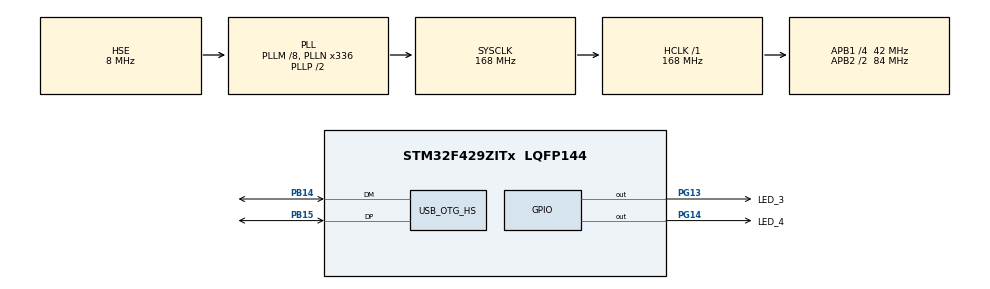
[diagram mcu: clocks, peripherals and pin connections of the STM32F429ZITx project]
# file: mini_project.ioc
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FREERTOS.Tasks01=ReadAndProcess,24,256,ReadAndProcess_Handle,Default,NULL,Dynamic,NULL,NULL;Output,24,128,Output_handle,Default,NULL,Dynamic,NULL,NULL;ZPID,24,256,ZPID_handle,Default,NULL,Dynamic,NULL,NULL;XPID,24,256,XPID_handle,Default,NULL,Dynamic,NULL,NULL
Mcu.Family=STM32F4
Mcu.Name=STM32F429ZITx
Mcu.Package=LQFP144
NVIC.OTG_HS_IRQn=true\:5\:0\:false\:false\:true\:true\:true\:true\:true
NVIC.PriorityGroup=NVIC_PRIORITYGROUP_4
NVIC.TIM6_DAC_IRQn=true\:15\:0\:false\:false\:true\:false\:false\:true\:true
NVIC.TimeBase=TIM6_DAC_IRQn
NVIC.TimeBaseIP=TIM6
PA13.Mode=Serial_Wire
PA13.Signal=SYS_JTMS-SWDIO
PA14.Mode=Serial_Wire
PA14.Signal=SYS_JTCK-SWCLK
PB14.Mode=Device_Only_FS
PB14.Signal=USB_OTG_HS_DM
PB15.Mode=Device_Only_FS
PB15.Signal=USB_OTG_HS_DP
PG13.GPIO_Label=LED_3
PG13.Signal=GPIO_Output
PG14.GPIO_Label=LED_4
PG14.Signal=GPIO_Output
PH0/OSC_IN.Mode=HSE-External-Oscillator
PH0/OSC_IN.Signal=RCC_OSC_IN
PH1/OSC_OUT.Mode=HSE-External-Oscillator
PH1/OSC_OUT.Signal=RCC_OSC_OUT
ProjectManager.HeapSize=0x2000
ProjectManager.StackSize=0x400
ProjectManager.TargetToolchain=STM32CubeIDE
RCC.48MHZClocksFreq_Value=48000000
RCC.AHBFreq_Value=168000000
RCC.APB1CLKDivider=RCC_HCLK_DIV4
RCC.APB1Freq_Value=42000000
RCC.APB1TimFreq_Value=84000000
RCC.APB2CLKDivider=RCC_HCLK_DIV2
RCC.APB2Freq_Value=84000000
RCC.APB2TimFreq_Value=168000000
RCC.CortexFreq_Value=168000000
RCC.HCLKFreq_Value=168000000
RCC.HSE_VALUE=8000000
RCC.HSI_VALUE=16000000
RCC.LSE_VALUE=32768
RCC.PLLM=8
RCC.PLLN=336
RCC.PLLQ=7
RCC.SYSCLKFreq_VALUE=168000000
RCC.SYSCLKSource=RCC_SYSCLKSOURCE_PLLCLK
RCC.VCOOutputFreq_Value=336000000
USB_DEVICE.CLASS_NAME_HS=CDC
USB_DEVICE.VirtualMode-CDC_HS=Cdc
USB_DEVICE.VirtualModeHS=Cdc_HS
USB_OTG_HS.VirtualMode-Device_Only_FS=Device_Only_FS
VP_FREERTOS_VS_CMSIS_V2.Mode=CMSIS_V2
VP_SYS_VS_tim6.Mode=TIM6
VP_USB_DEVICE_VS_USB_DEVICE_CDC_HS.Mode=CDC_HS
board=custom

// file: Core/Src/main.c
/* USER CODE BEGIN Header */
/**
  ******************************************************************************
  * @file           : main.c
  * @brief          : Main program body
  ******************************************************************************
  * @attention
  *
  * Copyright (c) 2024 STMicroelectronics.
  * All rights reserved.
  *
  * This software is licensed under terms that can be found in the LICENSE file
  * in the root directory of this software component.
  * If no LICENSE file comes with this software, it is provided AS-IS.
  *
  ******************************************************************************
  */
/* USER CODE END Header */
#include "main.h"
#include "cmsis_os.h"
#include "usb_device.h"

/* USER CODE BEGIN Includes */
#include "usbd_cdc_if.h"
#include "stm32f429i_discovery_lcd.h"
#include "stm32f429i_discovery_gyroscope.h"
/* USER CODE END Includes */

/* Definitions for ReadAndProcess */
osThreadId_t ReadAndProcessHandle;
const osThreadAttr_t ReadAndProcess_attributes = {
  .name = "ReadAndProcess",
  .stack_size = 256 * 4,
  .priority = (osPriority_t) osPriorityNormal,
};
/* Definitions for Output */
osThreadId_t OutputHandle;
const osThreadAttr_t Output_attributes = {
  .name = "Output",
  .stack_size = 128 * 4,
  .priority = (osPriority_t) osPriorityNormal2,
};
/* Definitions for ZPID */
osThreadId_t ZPIDHandle;
const osThreadAttr_t ZPID_attributes = {
  .name = "ZPID",
  .stack_size = 256 * 4,
  .priority = (osPriority_t) osPriorityNormal1,
};
/* Definitions for XPID */
osThreadId_t XPIDHandle;
const osThreadAttr_t XPID_attributes = {
  .name = "XPID",
  .stack_size = 256 * 4,
  .priority = (osPriority_t) osPriorityNormal1,
};
/* USER CODE BEGIN PV */
static int target_height = 30;
static int current_height = 30;
static int target_width = 125;
static int current_width = 125;
static int score = 0;
const float Kp = 0.1;
const float Ki = 0.001;
const float Kd = 0.05;
int end = 0;
/* USER CODE END PV */

void SystemClock_Config(void);
static void MX_GPIO_Init(void);
void ReadAndProcess_Handle(void *argument);
void Output_handle(void *argument);
void ZPID_handle(void *argument);
void XPID_handle(void *argument);

int main(void)
{

  /* MCU Configuration--------------------------------------------------------*/

  /* Reset of all peripherals, Initializes the Flash interface and the Systick. */
  HAL_Init();

  /* Configure the system clock */
  SystemClock_Config();

  /* Initialize all configured peripherals */
  MX_GPIO_Init();
  /* USER CODE BEGIN 2 */
  BSP_GYRO_Init();
  BSP_LCD_Init();
  BSP_LCD_LayerDefaultInit(1, SDRAM_DEVICE_ADDR);
  BSP_LCD_SelectLayer(1);
  BSP_LCD_DisplayOn();
  BSP_LCD_Clear(LCD_COLOR_BLUE);
  BSP_LCD_SetBackColor(LCD_COLOR_BLUE);
  BSP_LCD_SetTextColor(LCD_COLOR_WHITE);
  BSP_LCD_DisplayStringAtLine(1, (uint8_t*)"Score: 0");
  BSP_LCD_FillCircle(125, 160, 30);

  /* USER CODE END 2 */

  /* Init scheduler */
  osKernelInitialize();

  /* Create the thread(s) */
  /* creation of ReadAndProcess */
  ReadAndProcessHandle = osThreadNew(ReadAndProcess_Handle, NULL, &ReadAndProcess_attributes);

  /* creation of Output */
  OutputHandle = osThreadNew(Output_handle, NULL, &Output_attributes);

  /* creation of ZPID */
  ZPIDHandle = osThreadNew(ZPID_handle, NULL, &ZPID_attributes);

  /* creation of XPID */
  XPIDHandle = osThreadNew(XPID_handle, NULL, &XPID_attributes);

  /* Start scheduler */
  osKernelStart();

  /* We should never get here as control is now taken by the scheduler */

  /* Infinite loop */
  while (1)
  {

  }
}

void SystemClock_Config(void)
{
  RCC_OscInitTypeDef RCC_OscInitStruct = {0};
  RCC_ClkInitTypeDef RCC_ClkInitStruct = {0};

  /** Configure the main internal regulator output voltage
  */
  __HAL_RCC_PWR_CLK_ENABLE();
  __HAL_PWR_VOLTAGESCALING_CONFIG(PWR_REGULATOR_VOLTAGE_SCALE1);

  /** Initializes the RCC Oscillators according to the specified parameters
  * in the RCC_OscInitTypeDef structure.
  */
  RCC_OscInitStruct.OscillatorType = RCC_OSCILLATORTYPE_HSE;
  RCC_OscInitStruct.HSEState = RCC_HSE_ON;
  RCC_OscInitStruct.PLL.PLLState = RCC_PLL_ON;
  RCC_OscInitStruct.PLL.PLLSource = RCC_PLLSOURCE_HSE;
  RCC_OscInitStruct.PLL.PLLM = 8;
  RCC_OscInitStruct.PLL.PLLN = 336;
  RCC_OscInitStruct.PLL.PLLP = RCC_PLLP_DIV2;
  RCC_OscInitStruct.PLL.PLLQ = 7;
  if (HAL_RCC_OscConfig(&RCC_OscInitStruct) != HAL_OK)
  {
    Error_Handler();
  }

  /** Initializes the CPU, AHB and APB buses clocks
  */
  RCC_ClkInitStruct.ClockType = RCC_CLOCKTYPE_HCLK|RCC_CLOCKTYPE_SYSCLK
                              |RCC_CLOCKTYPE_PCLK1|RCC_CLOCKTYPE_PCLK2;
  RCC_ClkInitStruct.SYSCLKSource = RCC_SYSCLKSOURCE_PLLCLK;
  RCC_ClkInitStruct.AHBCLKDivider = RCC_SYSCLK_DIV1;
  RCC_ClkInitStruct.APB1CLKDivider = RCC_HCLK_DIV4;
  RCC_ClkInitStruct.APB2CLKDivider = RCC_HCLK_DIV2;

  if (HAL_RCC_ClockConfig(&RCC_ClkInitStruct, FLASH_LATENCY_5) != HAL_OK)
  {
    Error_Handler();
  }
}

static void MX_GPIO_Init(void)
{
  GPIO_InitTypeDef GPIO_InitStruct = {0};

  /* GPIO Ports Clock Enable */
  __HAL_RCC_GPIOH_CLK_ENABLE();
  __HAL_RCC_GPIOB_CLK_ENABLE();
  __HAL_RCC_GPIOA_CLK_ENABLE();
  __HAL_RCC_GPIOG_CLK_ENABLE();

  /*Configure GPIO pin Output Level */
  HAL_GPIO_WritePin(GPIOG, LED_3_Pin|LED_4_Pin, GPIO_PIN_RESET);

  /*Configure GPIO pins : LED_3_Pin LED_4_Pin */
  GPIO_InitStruct.Pin = LED_3_Pin|LED_4_Pin;
  GPIO_InitStruct.Mode = GPIO_MODE_OUTPUT_PP;
  GPIO_InitStruct.Pull = GPIO_NOPULL;
  GPIO_InitStruct.Speed = GPIO_SPEED_FREQ_LOW;
  HAL_GPIO_Init(GPIOG, &GPIO_InitStruct);

}

void ReadAndProcess_Handle(void *argument)
{
  /* init code for USB_DEVICE */
  MX_USB_DEVICE_Init();
  /* USER CODE BEGIN 5 */
  float pfData[3];
  /* Infinite loop */
  for(;;)
  {
	if(end)
	{
		osThreadTerminate(ReadAndProcessHandle);
	}
	BSP_GYRO_GetXYZ(pfData);
	pfData[1] = pfData[1] * 17.5 * 0.001;
	pfData[2] = pfData[2] * 17.5 * 0.001;
	if(target_height == 30 && current_height <= -(int)pfData[2])
	{
		target_height*=1.5;
		target_width+=pfData[1];
		if(target_height > 100)
		{
			target_height = 100;
		}
		score+=1;
	}
	if(current_height >= target_height)
	{
		target_height = 30;
	}
    osDelay(100);
  }
  /* USER CODE END 5 */
}

void Output_handle(void *argument)
{
  /* USER CODE BEGIN Output_handle */
  char data[20];
  char usb[20];
  int old_score = 0;
  /* Infinite loop */
  for(;;)
  {
	if(end)
	{
		BSP_LCD_Clear(LCD_COLOR_BLUE);
		BSP_LCD_DisplayStringAtLine(1, (uint8_t*)"GAMEOVER");
		HAL_GPIO_WritePin(LED_3_GPIO_Port, LED_3_Pin, 0);
		HAL_GPIO_WritePin(LED_4_GPIO_Port, LED_4_Pin, 1);
		osThreadTerminate(OutputHandle);
	}
	if(score != old_score)
	{
		old_score = score;
		HAL_GPIO_WritePin(LED_3_GPIO_Port, LED_3_Pin, 1);
	}
	else
	{
		HAL_GPIO_WritePin(LED_3_GPIO_Port, LED_3_Pin, 0);
	}
	sprintf(data, "Score: %d", score);
	BSP_LCD_DisplayStringAtLine(1, (uint8_t*)data);
	sprintf(usb, "%d\n", current_height);
	CDC_Transmit_HS((uint8_t*)usb, 20);
	for(int i = 2; i <= 11; i++)
	{
		BSP_LCD_ClearStringLine(i);
	}
	BSP_LCD_FillCircle(current_width, 160, current_height);
    osDelay(100);
  }
  /* USER CODE END Output_handle */
}

void ZPID_handle(void *argument)
{
  /* USER CODE BEGIN ZPID_handle */
  int old_error = 0;
  int sum_error = 0;
  /* Infinite loop */
  for(;;)
  {
	int error = target_height - current_height;
	float P = Kp * error;
	float D = Kd * (error - old_error) / 100;
	sum_error+=error;
	float I = Ki * sum_error * 100;
	old_error = error;
	current_height += (int)(P + D + I);
	if(current_height < 30)
	{
		end = 1;
		osThreadTerminate(ZPIDHandle);
	}
    osDelay(100);
  }
  /* USER CODE END ZPID_handle */
}

void XPID_handle(void *argument)
{
  /* USER CODE BEGIN XPID_handle */
  int old_error = 0;
  int sum_error = 0;
  /* Infinite loop */
  for(;;)
  {
	if(end)
	{
		osThreadTerminate(XPIDHandle);
	}
	int error = target_width - current_width;
	float P = Kp * error;
	float D = Kd * (error - old_error) / 100;
	sum_error+=error;
	float I = Ki * sum_error * 100;
	old_error = error;
	int temp = current_width + (int)(P + D + I);
	if(temp + current_height > 210 || temp - current_height < 0)
	{
	  target_width = 125;
	}
	else
	{
	  current_width = temp;
	}
    osDelay(100);
  }
  /* USER CODE END XPID_handle */
}

void HAL_TIM_PeriodElapsedCallback(TIM_HandleTypeDef *htim)
{
  if (htim->Instance == TIM6) {
    HAL_IncTick();
  }
}

void Error_Handler(void)
{
  __disable_irq();
  while (1)
  {
  }
}
